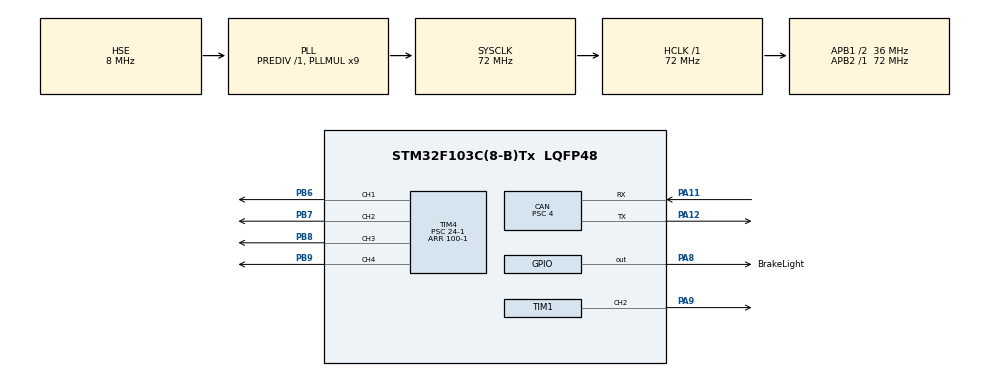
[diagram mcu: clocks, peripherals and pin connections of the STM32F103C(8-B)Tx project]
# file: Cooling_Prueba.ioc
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CAN.BS1=CAN_BS1_15TQ
CAN.BS2=CAN_BS2_2TQ
CAN.CalculateBaudRate=500000
CAN.CalculateTimeBit=2000
CAN.CalculateTimeQuantum=111.11111111111111
CAN.Prescaler=4
Mcu.Family=STM32F1
Mcu.Name=STM32F103C(8-B)Tx
Mcu.Package=LQFP48
NVIC.PriorityGroup=NVIC_PRIORITYGROUP_4
NVIC.USB_LP_CAN1_RX0_IRQn=true\:0\:0\:false\:false\:true\:true\:true\:true
PA11.GPIO_PuPd=GPIO_PULLUP
PA11.Mode=CAN_Activate
PA11.Signal=CAN_RX
PA12.Mode=CAN_Activate
PA12.Signal=CAN_TX
PA13.Mode=Serial_Wire
PA13.Signal=SYS_JTMS-SWDIO
PA14.Mode=Serial_Wire
PA14.Signal=SYS_JTCK-SWCLK
PA8.GPIO_Label=BrakeLight
PA8.Signal=GPIO_Output
PA9.Signal=S_TIM1_CH2
PB6.Signal=S_TIM4_CH1
PB7.Signal=S_TIM4_CH2
PB8.Signal=S_TIM4_CH3
PB9.Signal=S_TIM4_CH4
PD0-OSC_IN.Mode=HSE-External-Oscillator
PD0-OSC_IN.Signal=RCC_OSC_IN
PD1-OSC_OUT.Mode=HSE-External-Oscillator
PD1-OSC_OUT.Signal=RCC_OSC_OUT
ProjectManager.HeapSize=0x200
ProjectManager.StackSize=0x400
ProjectManager.TargetToolchain=CMake
RCC.AHBFreq_Value=72000000
RCC.APB1CLKDivider=RCC_HCLK_DIV2
RCC.APB1Freq_Value=36000000
RCC.APB1TimFreq_Value=72000000
RCC.APB2Freq_Value=72000000
RCC.APB2TimFreq_Value=72000000
RCC.HCLKFreq_Value=72000000
RCC.PLLMUL=RCC_PLL_MUL9
RCC.PLLSourceVirtual=RCC_PLLSOURCE_HSE
RCC.SYSCLKFreq_VALUE=72000000
RCC.SYSCLKSource=RCC_SYSCLKSOURCE_PLLCLK
RCC.USBFreq_Value=72000000
SH.S_TIM1_CH2.0=TIM1_CH2,PWM Generation2 CH2
SH.S_TIM4_CH1.0=TIM4_CH1,PWM Generation1 CH1
SH.S_TIM4_CH2.0=TIM4_CH2,PWM Generation2 CH2
SH.S_TIM4_CH3.0=TIM4_CH3,PWM Generation3 CH3
SH.S_TIM4_CH4.0=TIM4_CH4,PWM Generation4 CH4
TIM1.AutoReloadPreload=TIM_AUTORELOAD_PRELOAD_ENABLE
TIM1.Channel-PWM\ Generation2\ CH2=TIM_CHANNEL_2
TIM1.Period=100-1
TIM1.Prescaler=24-1
TIM4.AutoReloadPreload=TIM_AUTORELOAD_PRELOAD_ENABLE
TIM4.Channel-PWM\ Generation1\ CH1=TIM_CHANNEL_1
TIM4.Channel-PWM\ Generation2\ CH2=TIM_CHANNEL_2
TIM4.Channel-PWM\ Generation3\ CH3=TIM_CHANNEL_3
TIM4.Channel-PWM\ Generation4\ CH4=TIM_CHANNEL_4
TIM4.Period=100-1
TIM4.Prescaler=24-1
VP_TIM1_VS_ClockSourceINT.Mode=Internal
VP_TIM4_VS_ClockSourceINT.Mode=Internal
board=custom

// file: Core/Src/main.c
/* USER CODE BEGIN Header */
/**
  ******************************************************************************
  * @file           : main.c
  * @brief          : Main program body
  ******************************************************************************
  * @attention
  *
  * <h2><center>&copy; Copyright (c) 2021 STMicroelectronics.
  * All rights reserved.</center></h2>
  *
  * This software component is licensed by ST under BSD 3-Clause license,
  * the "License"; You may not use this file except in compliance with the
  * License. You may obtain a copy of the License at:
  *                        opensource.org/licenses/BSD-3-Clause
  *
  ******************************************************************************
  */
/* USER CODE END Header */
#include "main.h"

/* USER CODE BEGIN Includes */
#include "stdio.h"
#include "stdlib.h"
#include "string.h"
/* USER CODE END Includes */

/* USER CODE BEGIN PTD */
typedef struct DatosCool{
	uint8_t Fan_Accu;
	uint8_t	Fan_2;
	uint8_t Fan_1;
	uint8_t	Pump_2;
	uint8_t Pump_1;
}DatosCool;
/* USER CODE END PTD */

/* USER CODE BEGIN PD */
#define ID_Cooling	0x0B
#define ID_Speed	0x0C
/* USER CODE END PD */

CAN_HandleTypeDef hcan;

TIM_HandleTypeDef htim1;
TIM_HandleTypeDef htim4;

/* USER CODE BEGIN PV */
volatile uint8_t FlagRxCool;
volatile uint8_t FlagRxBrake;
volatile uint8_t uFreno;
/* USER CODE END PV */

void SystemClock_Config(void);
static void MX_GPIO_Init(void);
static void MX_CAN_Init(void);
static void MX_TIM1_Init(void);
static void MX_TIM4_Init(void);

/* USER CODE BEGIN 0 */
CAN_RxHeaderTypeDef Rx_CAN_Cool;
CAN_FilterTypeDef	sFilter_CAN;
uint8_t 			Buffer_Rx_CAN[8];

uint8_t				BufferCool[5] = {100,100,100,100,100};

DatosCool			CoolSpeeds;
/* USER CODE END 0 */

int main(void)
{

  /* MCU Configuration--------------------------------------------------------*/

  /* Reset of all peripherals, Initializes the Flash interface and the Systick. */
  HAL_Init();

  /* Configure the system clock */
  SystemClock_Config();

  /* Initialize all configured peripherals */
  MX_GPIO_Init();
  MX_CAN_Init();
  MX_TIM1_Init();
  MX_TIM4_Init();
  /* USER CODE BEGIN 2 */

  //Configurar PWM
  TIM_OC_InitTypeDef sConfig_Timer = {0};
  sConfig_Timer.OCMode = TIM_OCMODE_PWM1;
  sConfig_Timer.Pulse = 0;
  sConfig_Timer.OCPolarity = TIM_OCPOLARITY_HIGH;
  sConfig_Timer.OCFastMode = TIM_OCFAST_DISABLE;
  HAL_TIM_PWM_ConfigChannel(&htim4, &sConfig_Timer, TIM_CHANNEL_ALL);
  HAL_TIM_PWM_ConfigChannel(&htim1, &sConfig_Timer, TIM_CHANNEL_2);

  //Configurar filtro RX
  sFilter_CAN.FilterMode = CAN_FILTERMODE_IDMASK;
  sFilter_CAN.FilterScale = CAN_FILTERSCALE_32BIT;
  sFilter_CAN.FilterIdHigh = 0x0B << 5;
  sFilter_CAN.FilterIdLow = 0x0000;
  sFilter_CAN.FilterMaskIdHigh = 0x07F8 << 5;
  sFilter_CAN.FilterIdLow = 0x0000;
  sFilter_CAN.FilterFIFOAssignment = CAN_RX_FIFO0;
  sFilter_CAN.FilterActivation = ENABLE;
  sFilter_CAN.FilterBank = 10;
  HAL_CAN_ConfigFilter(&hcan, &sFilter_CAN);

  uint8_t estadoFreno = 0;

  DatosCool prevDatos = {0,0,0,0,0};

  /* USER CODE END 2 */

  /* Infinite loop */
  /* USER CODE BEGIN WHILE */

  HAL_TIM_PWM_Start(&htim4, TIM_CHANNEL_ALL);;
  HAL_TIM_PWM_Start(&htim1, TIM_CHANNEL_2);
  FlagRxCool = 1;
  FlagRxBrake = 0;

  HAL_CAN_Start(&hcan);
  HAL_CAN_ActivateNotification(&hcan, CAN_IT_RX_FIFO0_MSG_PENDING);

  while (1)//ToDo
  {
	  if(FlagRxCool){
		  memcpy(&CoolSpeeds, &BufferCool, 5);
		  if(memcmp(&prevDatos, &CoolSpeeds, 5)){
			  if(prevDatos.Fan_1 != CoolSpeeds.Fan_1){
				  //Ventilador 1
				  HAL_TIM_PWM_Stop(&htim4, TIM_CHANNEL_2);
				  sConfig_Timer.Pulse = CoolSpeeds.Fan_1;
				  HAL_TIM_PWM_ConfigChannel(&htim4, &sConfig_Timer, TIM_CHANNEL_2);
				  HAL_TIM_PWM_Start(&htim4, TIM_CHANNEL_2);
			  }
			  if(prevDatos.Fan_2 != CoolSpeeds.Fan_2){
				  //Ventilador 2
				  HAL_TIM_PWM_Stop(&htim4, TIM_CHANNEL_1);
				  sConfig_Timer.Pulse = CoolSpeeds.Fan_2;
				  HAL_TIM_PWM_ConfigChannel(&htim4, &sConfig_Timer, TIM_CHANNEL_1);
				  HAL_TIM_PWM_Start(&htim4, TIM_CHANNEL_1);
			  }
			  if(prevDatos.Fan_Accu != CoolSpeeds.Fan_Accu){
				  //Ventilador Accu
				  HAL_TIM_PWM_Stop(&htim1, TIM_CHANNEL_2);
				  sConfig_Timer.Pulse = CoolSpeeds.Fan_Accu;
				  HAL_TIM_PWM_ConfigChannel(&htim1, &sConfig_Timer, TIM_CHANNEL_2);
				  HAL_TIM_PWM_Start(&htim1, TIM_CHANNEL_2);
			  }
			  if(prevDatos.Pump_1 != CoolSpeeds.Pump_1){
				  //Bomba 1
				  HAL_TIM_PWM_Stop(&htim4, TIM_CHANNEL_4);
				  sConfig_Timer.Pulse = CoolSpeeds.Pump_1;
				  HAL_TIM_PWM_ConfigChannel(&htim4, &sConfig_Timer, TIM_CHANNEL_4);
				  HAL_TIM_PWM_Start(&htim4, TIM_CHANNEL_4);
			  }
			  if(prevDatos.Pump_2 != CoolSpeeds.Pump_2){
				  //Bomba 2
				  HAL_TIM_PWM_Stop(&htim4, TIM_CHANNEL_3);
				  sConfig_Timer.Pulse = CoolSpeeds.Pump_2;
				  HAL_TIM_PWM_ConfigChannel(&htim4, &sConfig_Timer, TIM_CHANNEL_3);
				  HAL_TIM_PWM_Start(&htim4, TIM_CHANNEL_3);
			  }
		  }

		  prevDatos = CoolSpeeds;

		  FlagRxCool = 0;
	  }
	  if(FlagRxBrake){
		  uint8_t valFreno = uFreno;
		  if(valFreno && !estadoFreno){
			  //Encender
			  estadoFreno = 1;
			  HAL_GPIO_WritePin(BrakeLight_GPIO_Port, BrakeLight_Pin, estadoFreno);
		  }
		  else if(!valFreno && estadoFreno){
			  //Apagar
			  estadoFreno = 0;
			  HAL_GPIO_WritePin(BrakeLight_GPIO_Port, BrakeLight_Pin, estadoFreno);

		  }else{
			  //Do nothing
		  }
		  FlagRxBrake = 0;
	  }
    /* USER CODE END WHILE */

  }
}

void SystemClock_Config(void)
{
  RCC_OscInitTypeDef RCC_OscInitStruct = {0};
  RCC_ClkInitTypeDef RCC_ClkInitStruct = {0};

  /** Initializes the RCC Oscillators according to the specified parameters
  * in the RCC_OscInitTypeDef structure.
  */
  RCC_OscInitStruct.OscillatorType = RCC_OSCILLATORTYPE_HSE;
  RCC_OscInitStruct.HSEState = RCC_HSE_ON;
  RCC_OscInitStruct.HSEPredivValue = RCC_HSE_PREDIV_DIV1;
  RCC_OscInitStruct.HSIState = RCC_HSI_ON;
  RCC_OscInitStruct.PLL.PLLState = RCC_PLL_ON;
  RCC_OscInitStruct.PLL.PLLSource = RCC_PLLSOURCE_HSE;
  RCC_OscInitStruct.PLL.PLLMUL = RCC_PLL_MUL9;
  if (HAL_RCC_OscConfig(&RCC_OscInitStruct) != HAL_OK)
  {
    Error_Handler();
  }
  /** Initializes the CPU, AHB and APB buses clocks
  */
  RCC_ClkInitStruct.ClockType = RCC_CLOCKTYPE_HCLK|RCC_CLOCKTYPE_SYSCLK
                              |RCC_CLOCKTYPE_PCLK1|RCC_CLOCKTYPE_PCLK2;
  RCC_ClkInitStruct.SYSCLKSource = RCC_SYSCLKSOURCE_PLLCLK;
  RCC_ClkInitStruct.AHBCLKDivider = RCC_SYSCLK_DIV1;
  RCC_ClkInitStruct.APB1CLKDivider = RCC_HCLK_DIV2;
  RCC_ClkInitStruct.APB2CLKDivider = RCC_HCLK_DIV1;

  if (HAL_RCC_ClockConfig(&RCC_ClkInitStruct, FLASH_LATENCY_2) != HAL_OK)
  {
    Error_Handler();
  }
}

static void MX_CAN_Init(void)
{

  hcan.Instance = CAN1;
  hcan.Init.Prescaler = 4;
  hcan.Init.Mode = CAN_MODE_NORMAL;
  hcan.Init.SyncJumpWidth = CAN_SJW_1TQ;
  hcan.Init.TimeSeg1 = CAN_BS1_15TQ;
  hcan.Init.TimeSeg2 = CAN_BS2_2TQ;
  hcan.Init.TimeTriggeredMode = DISABLE;
  hcan.Init.AutoBusOff = DISABLE;
  hcan.Init.AutoWakeUp = DISABLE;
  hcan.Init.AutoRetransmission = DISABLE;
  hcan.Init.ReceiveFifoLocked = DISABLE;
  hcan.Init.TransmitFifoPriority = DISABLE;
  if (HAL_CAN_Init(&hcan) != HAL_OK)
  {
    Error_Handler();
  }

}

static void MX_TIM1_Init(void)
{

  TIM_ClockConfigTypeDef sClockSourceConfig = {0};
  TIM_MasterConfigTypeDef sMasterConfig = {0};
  TIM_OC_InitTypeDef sConfigOC = {0};
  TIM_BreakDeadTimeConfigTypeDef sBreakDeadTimeConfig = {0};

  htim1.Instance = TIM1;
  htim1.Init.Prescaler = 24-1;
  htim1.Init.CounterMode = TIM_COUNTERMODE_UP;
  htim1.Init.Period = 100-1;
  htim1.Init.ClockDivision = TIM_CLOCKDIVISION_DIV1;
  htim1.Init.RepetitionCounter = 0;
  htim1.Init.AutoReloadPreload = TIM_AUTORELOAD_PRELOAD_ENABLE;
  if (HAL_TIM_Base_Init(&htim1) != HAL_OK)
  {
    Error_Handler();
  }
  sClockSourceConfig.ClockSource = TIM_CLOCKSOURCE_INTERNAL;
  if (HAL_TIM_ConfigClockSource(&htim1, &sClockSourceConfig) != HAL_OK)
  {
    Error_Handler();
  }
  if (HAL_TIM_PWM_Init(&htim1) != HAL_OK)
  {
    Error_Handler();
  }
  sMasterConfig.MasterOutputTrigger = TIM_TRGO_RESET;
  sMasterConfig.MasterSlaveMode = TIM_MASTERSLAVEMODE_DISABLE;
  if (HAL_TIMEx_MasterConfigSynchronization(&htim1, &sMasterConfig) != HAL_OK)
  {
    Error_Handler();
  }
  sConfigOC.OCMode = TIM_OCMODE_PWM1;
  sConfigOC.Pulse = 0;
  sConfigOC.OCPolarity = TIM_OCPOLARITY_HIGH;
  sConfigOC.OCNPolarity = TIM_OCNPOLARITY_HIGH;
  sConfigOC.OCFastMode = TIM_OCFAST_DISABLE;
  sConfigOC.OCIdleState = TIM_OCIDLESTATE_RESET;
  sConfigOC.OCNIdleState = TIM_OCNIDLESTATE_RESET;
  if (HAL_TIM_PWM_ConfigChannel(&htim1, &sConfigOC, TIM_CHANNEL_2) != HAL_OK)
  {
    Error_Handler();
  }
  sBreakDeadTimeConfig.OffStateRunMode = TIM_OSSR_DISABLE;
  sBreakDeadTimeConfig.OffStateIDLEMode = TIM_OSSI_DISABLE;
  sBreakDeadTimeConfig.LockLevel = TIM_LOCKLEVEL_OFF;
  sBreakDeadTimeConfig.DeadTime = 0;
  sBreakDeadTimeConfig.BreakState = TIM_BREAK_DISABLE;
  sBreakDeadTimeConfig.BreakPolarity = TIM_BREAKPOLARITY_HIGH;
  sBreakDeadTimeConfig.AutomaticOutput = TIM_AUTOMATICOUTPUT_DISABLE;
  if (HAL_TIMEx_ConfigBreakDeadTime(&htim1, &sBreakDeadTimeConfig) != HAL_OK)
  {
    Error_Handler();
  }
  HAL_TIM_MspPostInit(&htim1);

}

static void MX_TIM4_Init(void)
{

  TIM_ClockConfigTypeDef sClockSourceConfig = {0};
  TIM_MasterConfigTypeDef sMasterConfig = {0};
  TIM_OC_InitTypeDef sConfigOC = {0};

  htim4.Instance = TIM4;
  htim4.Init.Prescaler = 24-1;
  htim4.Init.CounterMode = TIM_COUNTERMODE_UP;
  htim4.Init.Period = 100-1;
  htim4.Init.ClockDivision = TIM_CLOCKDIVISION_DIV1;
  htim4.Init.AutoReloadPreload = TIM_AUTORELOAD_PRELOAD_ENABLE;
  if (HAL_TIM_Base_Init(&htim4) != HAL_OK)
  {
    Error_Handler();
  }
  sClockSourceConfig.ClockSource = TIM_CLOCKSOURCE_INTERNAL;
  if (HAL_TIM_ConfigClockSource(&htim4, &sClockSourceConfig) != HAL_OK)
  {
    Error_Handler();
  }
  if (HAL_TIM_PWM_Init(&htim4) != HAL_OK)
  {
    Error_Handler();
  }
  sMasterConfig.MasterOutputTrigger = TIM_TRGO_RESET;
  sMasterConfig.MasterSlaveMode = TIM_MASTERSLAVEMODE_DISABLE;
  if (HAL_TIMEx_MasterConfigSynchronization(&htim4, &sMasterConfig) != HAL_OK)
  {
    Error_Handler();
  }
  sConfigOC.OCMode = TIM_OCMODE_PWM1;
  sConfigOC.Pulse = 0;
  sConfigOC.OCPolarity = TIM_OCPOLARITY_HIGH;
  sConfigOC.OCFastMode = TIM_OCFAST_DISABLE;
  if (HAL_TIM_PWM_ConfigChannel(&htim4, &sConfigOC, TIM_CHANNEL_1) != HAL_OK)
  {
    Error_Handler();
  }
  if (HAL_TIM_PWM_ConfigChannel(&htim4, &sConfigOC, TIM_CHANNEL_2) != HAL_OK)
  {
    Error_Handler();
  }
  if (HAL_TIM_PWM_ConfigChannel(&htim4, &sConfigOC, TIM_CHANNEL_3) != HAL_OK)
  {
    Error_Handler();
  }
  if (HAL_TIM_PWM_ConfigChannel(&htim4, &sConfigOC, TIM_CHANNEL_4) != HAL_OK)
  {
    Error_Handler();
  }
  HAL_TIM_MspPostInit(&htim4);

}

static void MX_GPIO_Init(void)
{
  GPIO_InitTypeDef GPIO_InitStruct = {0};

  /* GPIO Ports Clock Enable */
  __HAL_RCC_GPIOD_CLK_ENABLE();
  __HAL_RCC_GPIOA_CLK_ENABLE();
  __HAL_RCC_GPIOB_CLK_ENABLE();

  /*Configure GPIO pin Output Level */
  HAL_GPIO_WritePin(BrakeLight_GPIO_Port, BrakeLight_Pin, GPIO_PIN_RESET);

  /*Configure GPIO pin : BrakeLight_Pin */
  GPIO_InitStruct.Pin = BrakeLight_Pin;
  GPIO_InitStruct.Mode = GPIO_MODE_OUTPUT_PP;
  GPIO_InitStruct.Pull = GPIO_NOPULL;
  GPIO_InitStruct.Speed = GPIO_SPEED_FREQ_LOW;
  HAL_GPIO_Init(BrakeLight_GPIO_Port, &GPIO_InitStruct);

}

/* USER CODE BEGIN 4 */
void HAL_CAN_RxFifo0MsgPendingCallback(CAN_HandleTypeDef *hcan){
	HAL_CAN_GetRxMessage(hcan, CAN_RX_FIFO0, &Rx_CAN_Cool, Buffer_Rx_CAN);
	if(Rx_CAN_Cool.StdId == ID_Speed){
		uFreno = Buffer_Rx_CAN[1];
		FlagRxBrake = 1;
	}else if(Rx_CAN_Cool.StdId == ID_Cooling){
		memcpy(&BufferCool, &Buffer_Rx_CAN, 5);
		FlagRxCool = 1;
	}else{
		//Do nothing
	}
}
/* USER CODE END 4 */

void Error_Handler(void)
{
  __disable_irq();
  while (1)
  {
  }
}

/************************ (C) COPYRIGHT STMicroelectronics *****END OF FILE****/
